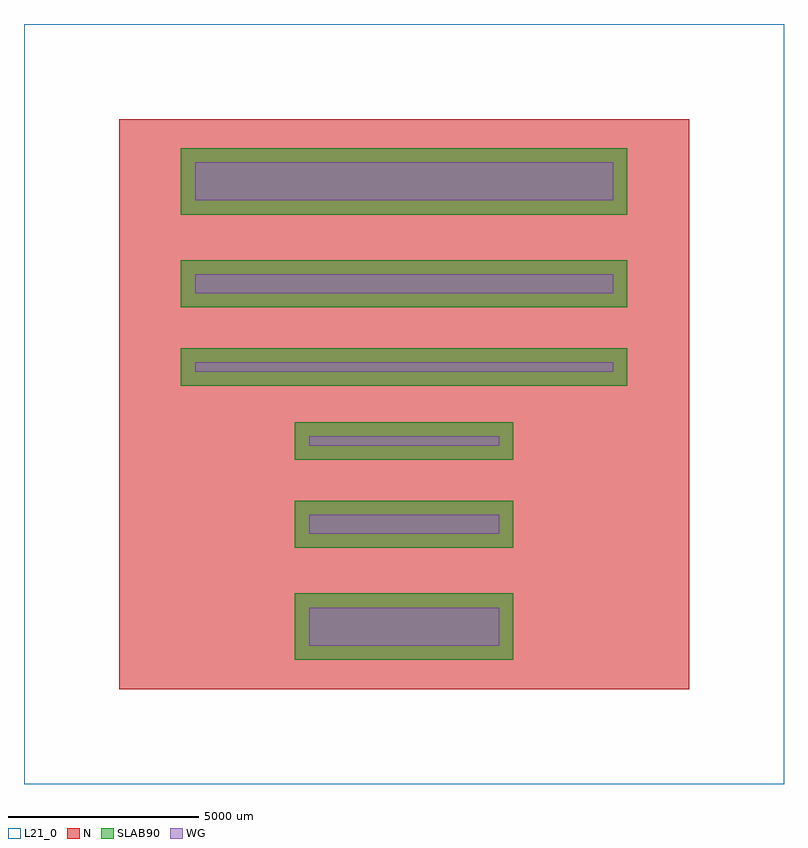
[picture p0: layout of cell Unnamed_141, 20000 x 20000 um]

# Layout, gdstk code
import gdstk
lib = gdstk.Library(unit=1e-6, precision=1e-09)
def R(c, l, rs):  # rectangles x0, y0, x1, y1
    for r in rs: c.add(gdstk.rectangle(r[:2], r[2:], *l))
WG = (1, 0)
SLAB90 = (3, 0)
N = (20, 0)
L21_0 = (21, 0)

rectangle_s5742p34_1742_ = lib.new_cell('rectangle_S5742p34_1742_aea06f36')
R(rectangle_s5742p34_1742_, SLAB90, [(0,0,5742.34,1742.34)])

rectangle_s5000_1000_l1_ = lib.new_cell('rectangle_S5000_1000_L1_af9c2d29')
R(rectangle_s5000_1000_l1_, WG, [(0,0,5000,1000)])

rectangle_s5742p34_1242_ = lib.new_cell('rectangle_S5742p34_1242_2bd35dbd')
R(rectangle_s5742p34_1242_, SLAB90, [(0,0,5742.34,1242.34)])

rectangle_s5000_500_l1__ = lib.new_cell('rectangle_S5000_500_L1__8483366d')
R(rectangle_s5000_500_l1__, WG, [(0,0,5000,500)])

rectangle_s11742p34_174_ = lib.new_cell('rectangle_S11742p34_174_d1575f04')
R(rectangle_s11742p34_174_, SLAB90, [(0,0,11742.34,1742.34)])

rectangle_s11742p34_124_ = lib.new_cell('rectangle_S11742p34_124_35634cfc')
R(rectangle_s11742p34_124_, SLAB90, [(0,0,11742.34,1242.34)])

rectangle_s11000_500_l1_ = lib.new_cell('rectangle_S11000_500_L1_e8eac09b')
R(rectangle_s11000_500_l1_, WG, [(0,0,11000,500)])

rectangle_s20000_20000__ = lib.new_cell('rectangle_S20000_20000__aa48e1ac')
R(rectangle_s20000_20000__, L21_0, [(0,0,20000,20000)])

rectangle_s5000_250_l1__ = lib.new_cell('rectangle_S5000_250_L1__f0290e42')
R(rectangle_s5000_250_l1__, WG, [(0,0,5000,250)])

rectangle_s11000_250_l1_ = lib.new_cell('rectangle_S11000_250_L1_35af61c5')
R(rectangle_s11000_250_l1_, WG, [(0,0,11000,250)])

rectangle_s5742p34_992p_ = lib.new_cell('rectangle_S5742p34_992p_251aa5d3')
R(rectangle_s5742p34_992p_, SLAB90, [(0,0,5742.34,992.34)])

rectangle_s11000_1000_l_ = lib.new_cell('rectangle_S11000_1000_L_7d1c9873')
R(rectangle_s11000_1000_l_, WG, [(0,0,11000,1000)])

rectangle_s11742p34_992_ = lib.new_cell('rectangle_S11742p34_992_5e8ff1e2')
R(rectangle_s11742p34_992_, SLAB90, [(0,0,11742.34,992.34)])

rectangle_s15000_15000__ = lib.new_cell('rectangle_S15000_15000__6a6c2047')
R(rectangle_s15000_15000__, N, [(0,0,15000,15000)])

unnamed_141 = lib.new_cell('Unnamed_141')
unnamed_141.add(gdstk.Reference(rectangle_s5742p34_1742_, (-2871.17,-6727.02)))
unnamed_141.add(gdstk.Reference(rectangle_s5000_1000_l1_, (-2500,-6355.85)))
unnamed_141.add(gdstk.Reference(rectangle_s5742p34_1242_, (-2871.17,-3784.68)))
unnamed_141.add(gdstk.Reference(rectangle_s5000_500_l1__, (-2500,-3413.51)))
unnamed_141.add(gdstk.Reference(rectangle_s11742p34_174_, (-5871.17,4984.68)))
unnamed_141.add(gdstk.Reference(rectangle_s11742p34_124_, (-5871.17,2542.34)))
unnamed_141.add(gdstk.Reference(rectangle_s11000_500_l1_, (-5500,2913.51)))
unnamed_141.add(gdstk.Reference(rectangle_s20000_20000__, (-10000,-10000)))
unnamed_141.add(gdstk.Reference(rectangle_s5000_250_l1__, (-2500,-1096.17)))
unnamed_141.add(gdstk.Reference(rectangle_s11000_250_l1_, (-5500,846.17)))
unnamed_141.add(gdstk.Reference(rectangle_s5742p34_992p_, (-2871.17,-1467.34)))
unnamed_141.add(gdstk.Reference(rectangle_s11000_1000_l_, (-5500,5355.85)))
unnamed_141.add(gdstk.Reference(rectangle_s11742p34_992_, (-5871.17,475)))
unnamed_141.add(gdstk.Reference(rectangle_s15000_15000__, (-7500,-7500)))

lib.write_gds('Unnamed_141.gds')
